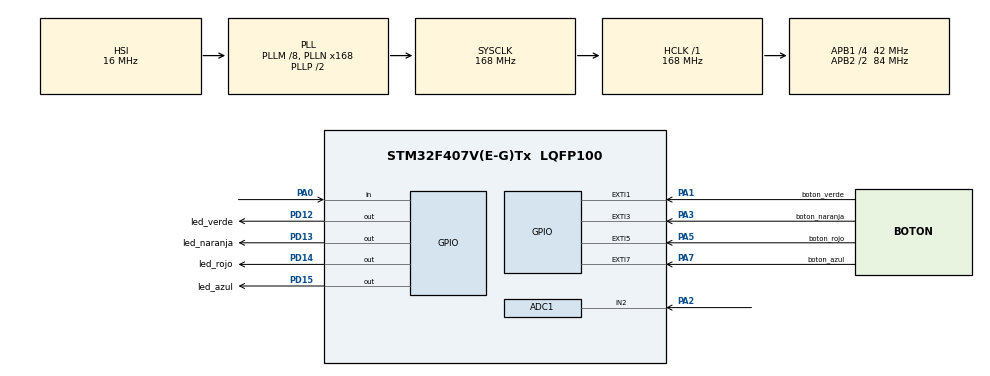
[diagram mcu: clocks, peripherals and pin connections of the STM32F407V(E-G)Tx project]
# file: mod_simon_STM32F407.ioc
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ADC1.Channel-0\#ChannelRegularConversion=ADC_CHANNEL_2
ADC1.ContinuousConvMode=ENABLE
ADC1.NbrOfConversionFlag=1
ADC1.Rank-0\#ChannelRegularConversion=1
ADC1.Resolution=ADC_RESOLUTION_8B
ADC1.SamplingTime-0\#ChannelRegularConversion=ADC_SAMPLETIME_3CYCLES
ADC1.ScanConvMode=DISABLE
ADC1.master=1
Mcu.Family=STM32F4
Mcu.Name=STM32F407V(E-G)Tx
Mcu.Package=LQFP100
NVIC.PriorityGroup=NVIC_PRIORITYGROUP_0
NVIC.TIM4_IRQn=true\:0\:0\:false\:false\:true\:true\:true
PA0-WKUP.Signal=GPIO_Input
PA1.GPIO_Label=boton_verde
PA1.Signal=GPXTI1
PA2.Signal=ADCx_IN2
PA3.GPIO_Label=boton_naranja
PA3.Signal=GPXTI3
PA5.GPIO_Label=boton_rojo
PA5.Signal=GPXTI5
PA7.GPIO_Label=boton_azul
PA7.Signal=GPXTI7
PD12.GPIO_Label=led_verde
PD12.Signal=GPIO_Output
PD13.GPIO_Label=led_naranja
PD13.Signal=GPIO_Output
PD14.GPIO_Label=led_rojo
PD14.Signal=GPIO_Output
PD15.GPIO_Label=led_azul
PD15.Signal=GPIO_Output
PH0-OSC_IN.Mode=HSE-External-Oscillator
PH0-OSC_IN.Signal=RCC_OSC_IN
PH1-OSC_OUT.Mode=HSE-External-Oscillator
PH1-OSC_OUT.Signal=RCC_OSC_OUT
ProjectManager.HeapSize=0x200
ProjectManager.StackSize=0x400
ProjectManager.TargetToolchain=STM32CubeIDE
RCC.48MHZClocksFreq_Value=48000000
RCC.AHBFreq_Value=168000000
RCC.APB1CLKDivider=RCC_HCLK_DIV4
RCC.APB1Freq_Value=42000000
RCC.APB1TimFreq_Value=84000000
RCC.APB2CLKDivider=RCC_HCLK_DIV2
RCC.APB2Freq_Value=84000000
RCC.APB2TimFreq_Value=168000000
RCC.CortexFreq_Value=168000000
RCC.HCLKFreq_Value=168000000
RCC.HSE_VALUE=8000000
RCC.HSI_VALUE=16000000
RCC.LSE_VALUE=32768
RCC.PLLM=8
RCC.PLLN=168
RCC.PLLQ=7
RCC.SYSCLKFreq_VALUE=168000000
RCC.SYSCLKSource=RCC_SYSCLKSOURCE_PLLCLK
RCC.VCOOutputFreq_Value=336000000
SH.ADCx_IN2.0=ADC1_IN2,IN2
TIM4.Period=3000-1
TIM4.Prescaler=56000-1
VP_TIM4_VS_ClockSourceINT.Mode=Internal
board=STM32F407G-DISC1

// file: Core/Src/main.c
/* USER CODE BEGIN Header */
/**
  ******************************************************************************
  * @file           : main.c
  * @brief          : Main program body
  ******************************************************************************
  * @attention
  *
  * <h2><center>&copy; Copyright (c) 2020 STMicroelectronics.
  * All rights reserved.</center></h2>
  *
  * This software component is licensed by ST under BSD 3-Clause license,
  * the "License"; You may not use this file except in compliance with the
  * License. You may obtain a copy of the License at:
  *                        opensource.org/licenses/BSD-3-Clause
  *
  ******************************************************************************
  */
/* USER CODE END Header */

#include "main.h"
#include "adc.h"
#include "tim.h"
#include "gpio.h"

/* USER CODE BEGIN PV */
uint32_t rand_val;
volatile uint8_t secuencia;
volatile uint8_t flag_secuencia=0;
uint8_t sec_led[5];
uint8_t sec_pos = 0;
/* USER CODE END PV */

void SystemClock_Config(void);

int main(void)
{

  /* MCU Configuration--------------------------------------------------------*/

  /* Reset of all peripherals, Initializes the Flash interface and the Systick. */
  HAL_Init();

  /* Configure the system clock */
  SystemClock_Config();

  /* Initialize all configured peripherals */
  MX_GPIO_Init();
  MX_TIM4_Init();
  MX_ADC1_Init();
  /* USER CODE BEGIN 2 */

  for (uint8_t i = 0; i < 5; i++) {
	  HAL_ADC_Start(&hadc1);
	  HAL_Delay(50);
	  sec_led[i] = HAL_ADC_GetValue(&hadc1) % 4; //random led sequence generator.
  }
  flag_secuencia = 1;
  HAL_TIM_Base_Start_IT(&htim4);

  /* USER CODE END 2 */

  /* Infinite loop */
  /* USER CODE BEGIN WHILE */
  while (1)
  {
	  if (flag_secuencia){
		  switch(sec_led[secuencia]){
		  	  case 0:
				  HAL_GPIO_WritePin(led_verde_GPIO_Port, led_verde_Pin, 1);
				  HAL_GPIO_WritePin(led_naranja_GPIO_Port, led_naranja_Pin, 0);
				  HAL_GPIO_WritePin(led_rojo_GPIO_Port, led_rojo_Pin, 0);
				  HAL_GPIO_WritePin(led_azul_GPIO_Port, led_azul_Pin, 0);
			  break;
		  	  case 1:
				  HAL_GPIO_WritePin(led_verde_GPIO_Port, led_verde_Pin, 0);
				  HAL_GPIO_WritePin(led_naranja_GPIO_Port, led_naranja_Pin, 1);
				  HAL_GPIO_WritePin(led_rojo_GPIO_Port, led_rojo_Pin, 0);
				  HAL_GPIO_WritePin(led_azul_GPIO_Port, led_azul_Pin, 0);
			  break;
		  	  case 2:
				  HAL_GPIO_WritePin(led_verde_GPIO_Port, led_verde_Pin, 0);
				  HAL_GPIO_WritePin(led_naranja_GPIO_Port, led_naranja_Pin, 0);
				  HAL_GPIO_WritePin(led_rojo_GPIO_Port, led_rojo_Pin, 1);
				  HAL_GPIO_WritePin(led_azul_GPIO_Port, led_azul_Pin, 0);
			  break;
		  	  case 3:
				  HAL_GPIO_WritePin(led_verde_GPIO_Port, led_verde_Pin, 0);
				  HAL_GPIO_WritePin(led_naranja_GPIO_Port, led_naranja_Pin, 0);
				  HAL_GPIO_WritePin(led_rojo_GPIO_Port, led_rojo_Pin, 0);
				  HAL_GPIO_WritePin(led_azul_GPIO_Port, led_azul_Pin, 1);
			  break;

		  }
		  flag_secuencia = 0;
	  }
    /* USER CODE END WHILE */

  }
}

void SystemClock_Config(void)
{
  RCC_OscInitTypeDef RCC_OscInitStruct = {0};
  RCC_ClkInitTypeDef RCC_ClkInitStruct = {0};

  /** Configure the main internal regulator output voltage
  */
  __HAL_RCC_PWR_CLK_ENABLE();
  __HAL_PWR_VOLTAGESCALING_CONFIG(PWR_REGULATOR_VOLTAGE_SCALE1);
  /** Initializes the CPU, AHB and APB busses clocks
  */
  RCC_OscInitStruct.OscillatorType = RCC_OSCILLATORTYPE_HSI;
  RCC_OscInitStruct.HSIState = RCC_HSI_ON;
  RCC_OscInitStruct.HSICalibrationValue = RCC_HSICALIBRATION_DEFAULT;
  RCC_OscInitStruct.PLL.PLLState = RCC_PLL_ON;
  RCC_OscInitStruct.PLL.PLLSource = RCC_PLLSOURCE_HSI;
  RCC_OscInitStruct.PLL.PLLM = 8;
  RCC_OscInitStruct.PLL.PLLN = 168;
  RCC_OscInitStruct.PLL.PLLP = RCC_PLLP_DIV2;
  RCC_OscInitStruct.PLL.PLLQ = 7;
  if (HAL_RCC_OscConfig(&RCC_OscInitStruct) != HAL_OK)
  {
    Error_Handler();
  }
  /** Initializes the CPU, AHB and APB busses clocks
  */
  RCC_ClkInitStruct.ClockType = RCC_CLOCKTYPE_HCLK|RCC_CLOCKTYPE_SYSCLK
                              |RCC_CLOCKTYPE_PCLK1|RCC_CLOCKTYPE_PCLK2;
  RCC_ClkInitStruct.SYSCLKSource = RCC_SYSCLKSOURCE_PLLCLK;
  RCC_ClkInitStruct.AHBCLKDivider = RCC_SYSCLK_DIV1;
  RCC_ClkInitStruct.APB1CLKDivider = RCC_HCLK_DIV4;
  RCC_ClkInitStruct.APB2CLKDivider = RCC_HCLK_DIV2;

  if (HAL_RCC_ClockConfig(&RCC_ClkInitStruct, FLASH_LATENCY_5) != HAL_OK)
  {
    Error_Handler();
  }
}

/* USER CODE BEGIN 4 */
void HAL_TIM_PeriodElapsedCallback(TIM_HandleTypeDef *htim){
	if (htim->Instance == TIM4){
		secuencia++;
		if (secuencia > 4) secuencia=0;
		flag_secuencia = 1;
	}
}
/* USER CODE END 4 */

void Error_Handler(void)
{
}

/************************ (C) COPYRIGHT STMicroelectronics *****END OF FILE****/
